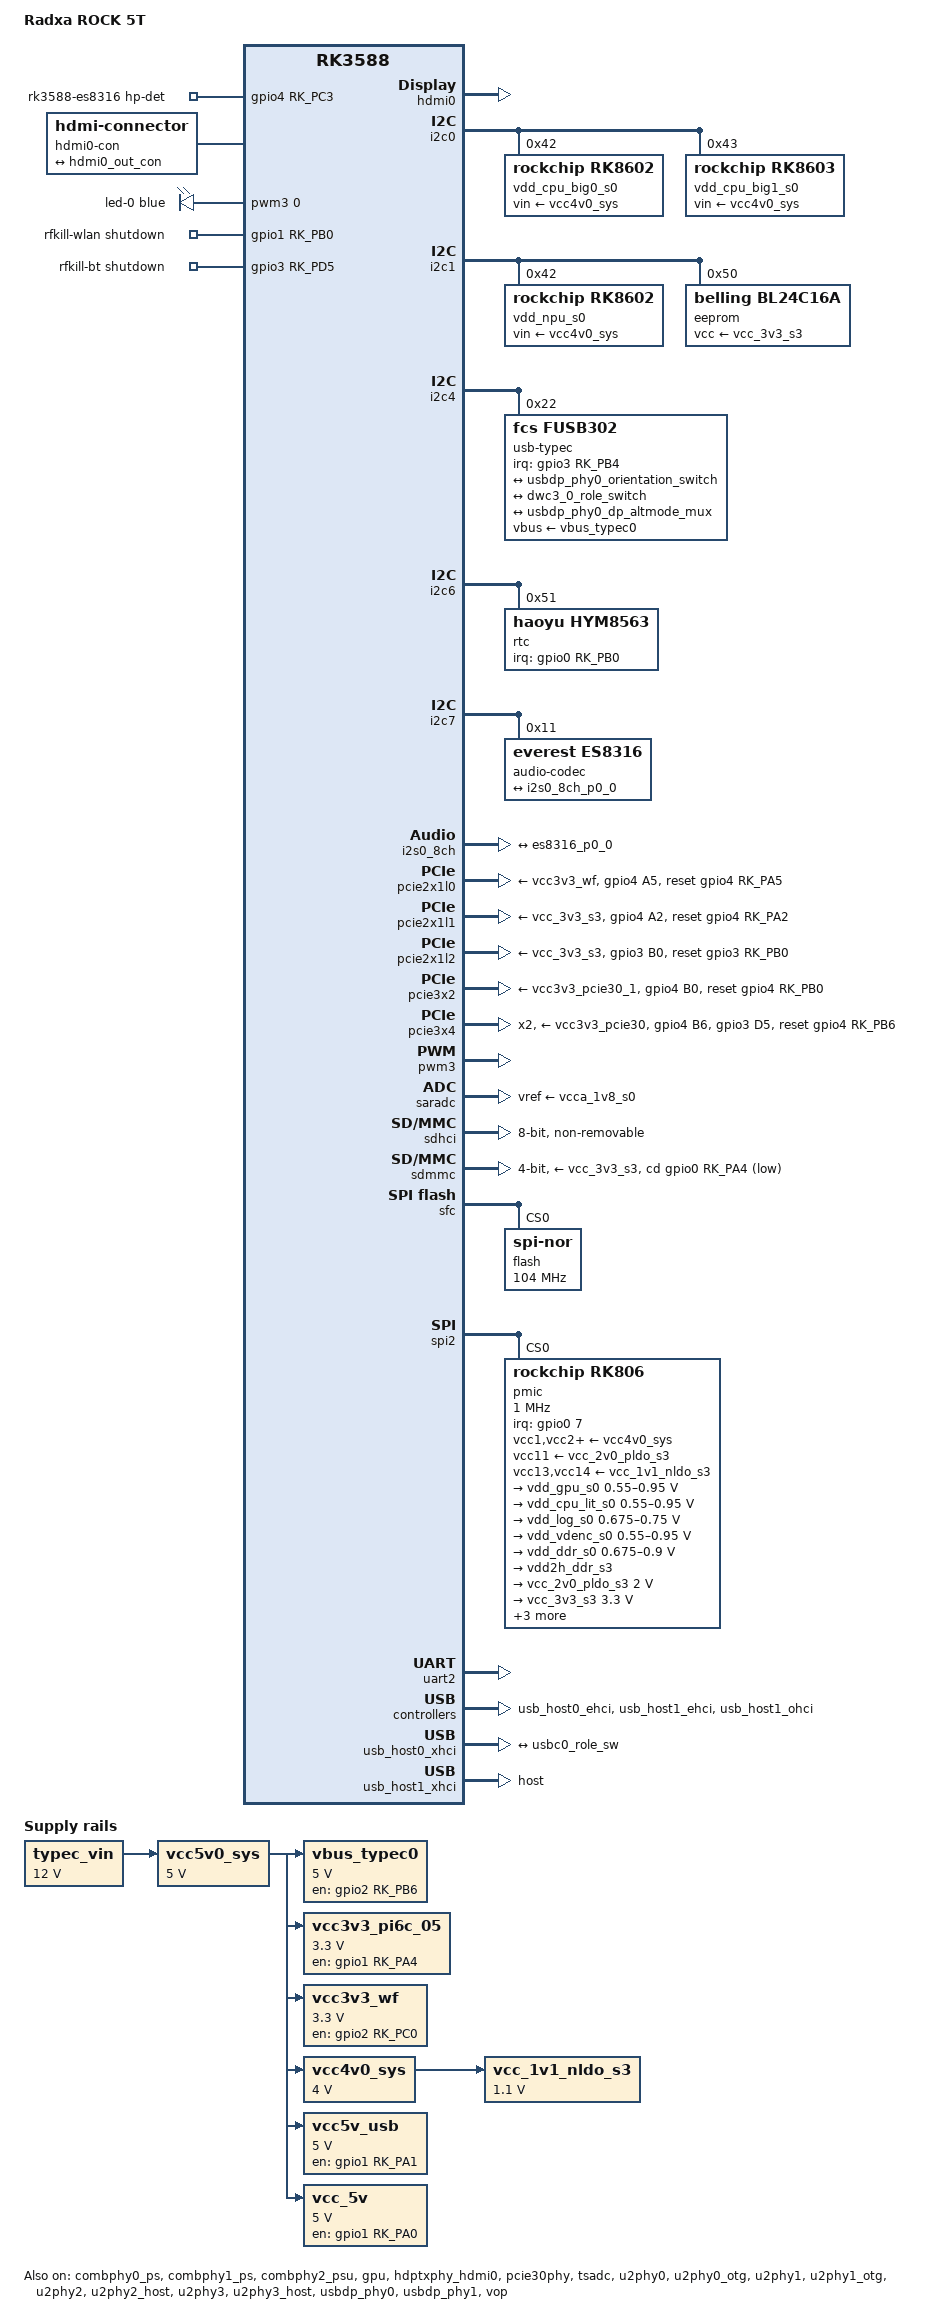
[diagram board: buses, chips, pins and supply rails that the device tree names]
// SPDX-License-Identifier: (GPL-2.0+ OR MIT)
/*
 * Copyright (c) 2024 Radxa Computer (Shenzhen) Co., Ltd.
 */

/dts-v1/;

#include <dt-bindings/gpio/gpio.h>
#include <dt-bindings/leds/common.h>
#include <dt-bindings/pinctrl/rockchip.h>
#include <dt-bindings/soc/rockchip,vop2.h>
#include <dt-bindings/usb/pd.h>
#include "rk3588.dtsi"

/ {
	model = "Radxa ROCK 5T";
	compatible = "radxa,rock-5t", "rockchip,rk3588";

	aliases {
		mmc0 = &sdhci;
		mmc1 = &sdmmc;
	};

	chosen {
		stdout-path = "serial2:1500000n8";
	};

	analog-sound {
		compatible = "audio-graph-card";
		label = "rk3588-es8316";
		dais = <&i2s0_8ch_p0>;
		hp-det-gpio = <&gpio4 RK_PC3 GPIO_ACTIVE_HIGH>;
		pinctrl-names = "default";
		pinctrl-0 = <&hp_detect>;
		routing = "MIC2", "Mic Jack",
			  "Headphones", "HPOL",
			  "Headphones", "HPOR";
		widgets = "Microphone", "Mic Jack",
			  "Headphone", "Headphones";
	};

	hdmi0-con {
		compatible = "hdmi-connector";
		type = "a";

		port {
			hdmi0_con_in: endpoint {
				remote-endpoint = <&hdmi0_out_con>;
			};
		};
	};

	leds {
		compatible = "pwm-leds";

		led-0 {
			color = <LED_COLOR_ID_BLUE>;
			default-state = "on";
			function = LED_FUNCTION_HEARTBEAT;
			linux,default-trigger = "heartbeat";
			pwms = <&pwm3 0 1000000 0>;
			max-brightness = <255>;
		};
	};

	rfkill {
		compatible = "rfkill-gpio";
		label = "rfkill-wlan";
		radio-type = "wlan";
		shutdown-gpios = <&gpio1 RK_PB0 GPIO_ACTIVE_HIGH>;
	};

	rfkill-bt {
		compatible = "rfkill-gpio";
		label = "rfkill-bt";
		radio-type = "bluetooth";
		shutdown-gpios = <&gpio3 RK_PD5 GPIO_ACTIVE_HIGH>;
	};

	typec_vin: regulator-typec-vin {
		compatible = "regulator-fixed";
		regulator-name = "typec_vin";
		regulator-always-on;
		regulator-boot-on;
		regulator-min-microvolt = <12000000>;
		regulator-max-microvolt = <12000000>;
	};

	vbus_typec0: regulator-vbus-typec0 {
		compatible = "regulator-fixed";
		enable-active-high;
		gpio = <&gpio2 RK_PB6 GPIO_ACTIVE_HIGH>;
		pinctrl-names = "default";
		pinctrl-0 = <&typec5v_pwren_h>;
		regulator-name = "vbus_typec0";
		regulator-min-microvolt = <5000000>;
		regulator-max-microvolt = <5000000>;
		vin-supply = <&vcc5v0_sys>;
	};

	/* pi6c pcie clock generator */
	vcc3v3_pi6c_05: vcc3v3_pcie30: vcc3v3_pcie30_1: regulator-vcc3v3-pi6c-05 {
		compatible = "regulator-fixed";
		enable-active-high;
		gpio = <&gpio1 RK_PA4 GPIO_ACTIVE_HIGH>;
		pinctrl-names = "default";
		pinctrl-0 = <&pcie30x4_pwren_h>;
		regulator-name = "vcc3v3_pi6c_05";
		regulator-min-microvolt = <3300000>;
		regulator-max-microvolt = <3300000>;
		vin-supply = <&vcc5v0_sys>;
	};

	vcc3v3_wf: regulator-vcc3v3-wf {
		compatible = "regulator-fixed";
		enable-active-high;
		gpio = <&gpio2 RK_PC0 GPIO_ACTIVE_HIGH>;
		pinctrl-names = "default";
		pinctrl-0 = <&ekey_en>;
		regulator-name = "vcc3v3_wf";
		regulator-min-microvolt = <3300000>;
		regulator-max-microvolt = <3300000>;
		vin-supply = <&vcc5v0_sys>;
	};

	vcc4v0_sys: regulator-vcc4v0-sys {
		compatible = "regulator-fixed";
		regulator-name = "vcc4v0_sys";
		regulator-always-on;
		regulator-boot-on;
		regulator-min-microvolt = <4000000>;
		regulator-max-microvolt = <4000000>;
		vin-supply = <&vcc5v0_sys>;
	};

	vcc5v0_sys: regulator-vcc5v0-sys {
		compatible = "regulator-fixed";
		regulator-name = "vcc5v0_sys";
		regulator-always-on;
		regulator-boot-on;
		regulator-min-microvolt = <5000000>;
		regulator-max-microvolt = <5000000>;
		vin-supply = <&typec_vin>;
	};

	vcc5v_usb: regulator-vcc5v-usb {
		compatible = "regulator-fixed";
		enable-active-high;
		gpio = <&gpio1 RK_PA1 GPIO_ACTIVE_HIGH>;
		pinctrl-names = "default";
		pinctrl-0 = <&usb_host_pwren_h>;
		regulator-name = "vcc5v_usb";
		regulator-min-microvolt = <5000000>;
		regulator-max-microvolt = <5000000>;
		vin-supply = <&vcc5v0_sys>;
	};

	vcc_1v1_nldo_s3: regulator-vcc-1v1-nldo-s3 {
		compatible = "regulator-fixed";
		regulator-name = "vcc_1v1_nldo_s3";
		regulator-always-on;
		regulator-boot-on;
		regulator-min-microvolt = <1100000>;
		regulator-max-microvolt = <1100000>;
		vin-supply = <&vcc4v0_sys>;
	};

	vcc_5v: regulator-vcc_5v {
		compatible = "regulator-fixed";
		enable-active-high;
		gpio = <&gpio1 RK_PA0 GPIO_ACTIVE_HIGH>;
		pinctrl-names = "default";
		pinctrl-0 = <&hub_rst_1v8>;
		regulator-name = "vcc_5v";
		regulator-min-microvolt = <5000000>;
		regulator-max-microvolt = <5000000>;
		vin-supply = <&vcc5v0_sys>;
	};
};

&combphy0_ps {
	status = "okay";
};

&combphy1_ps {
	status = "okay";
};

&combphy2_psu {
	status = "okay";
};

&cpu_b0 {
	cpu-supply = <&vdd_cpu_big0_s0>;
};

&cpu_b1 {
	cpu-supply = <&vdd_cpu_big0_s0>;
};

&cpu_b2 {
	cpu-supply = <&vdd_cpu_big1_s0>;
};

&cpu_b3 {
	cpu-supply = <&vdd_cpu_big1_s0>;
};

&cpu_l0 {
	cpu-supply = <&vdd_cpu_lit_s0>;
};

&cpu_l1 {
	cpu-supply = <&vdd_cpu_lit_s0>;
};

&cpu_l2 {
	cpu-supply = <&vdd_cpu_lit_s0>;
};

&cpu_l3 {
	cpu-supply = <&vdd_cpu_lit_s0>;
};

&gpu {
	mali-supply = <&vdd_gpu_s0>;
	status = "okay";
};

&hdmi0 {
	status = "okay";
};

&hdmi0_in {
	hdmi0_in_vp0: endpoint {
		remote-endpoint = <&vp0_out_hdmi0>;
	};
};

&hdmi0_out {
	hdmi0_out_con: endpoint {
		remote-endpoint = <&hdmi0_con_in>;
	};
};

&hdptxphy_hdmi0 {
	status = "okay";
};

&i2c0 {
	pinctrl-names = "default";
	pinctrl-0 = <&i2c0m2_xfer>;
	status = "okay";

	vdd_cpu_big0_s0: regulator@42 {
		compatible = "rockchip,rk8602";
		reg = <0x42>;
		fcs,suspend-voltage-selector = <1>;
		regulator-name = "vdd_cpu_big0_s0";
		regulator-always-on;
		regulator-boot-on;
		regulator-min-microvolt = <550000>;
		regulator-max-microvolt = <1050000>;
		regulator-ramp-delay = <2300>;
		vin-supply = <&vcc4v0_sys>;

		regulator-state-mem {
			regulator-off-in-suspend;
		};
	};

	vdd_cpu_big1_s0: regulator@43 {
		compatible = "rockchip,rk8603", "rockchip,rk8602";
		reg = <0x43>;
		fcs,suspend-voltage-selector = <1>;
		regulator-name = "vdd_cpu_big1_s0";
		regulator-always-on;
		regulator-boot-on;
		regulator-min-microvolt = <550000>;
		regulator-max-microvolt = <1050000>;
		regulator-ramp-delay = <2300>;
		vin-supply = <&vcc4v0_sys>;

		regulator-state-mem {
			regulator-off-in-suspend;
		};
	};
};

&i2c1 {
	pinctrl-names = "default";
	pinctrl-0 = <&i2c1m2_xfer>;
	status = "okay";

	vdd_npu_s0: regulator@42 {
		compatible = "rockchip,rk8602";
		reg = <0x42>;
		fcs,suspend-voltage-selector = <1>;
		regulator-name = "vdd_npu_s0";
		regulator-always-on;
		regulator-boot-on;
		regulator-min-microvolt = <550000>;
		regulator-max-microvolt = <950000>;
		regulator-ramp-delay = <2300>;
		vin-supply = <&vcc4v0_sys>;

		regulator-state-mem {
			regulator-off-in-suspend;
		};
	};

	eeprom@50 {
		compatible = "belling,bl24c16a", "atmel,24c16";
		reg = <0x50>;
		pagesize = <16>;
		vcc-supply = <&vcc_3v3_s3>;
	};
};

&i2c4 {
	pinctrl-names = "default";
	pinctrl-0 = <&i2c4m1_xfer>;
	status = "okay";

	usb-typec@22 {
		compatible = "fcs,fusb302";
		reg = <0x22>;
		interrupt-parent = <&gpio3>;
		interrupts = <RK_PB4 IRQ_TYPE_LEVEL_LOW>;
		pinctrl-names = "default";
		pinctrl-0 = <&cc_int_l>;
		vbus-supply = <&vbus_typec0>;

		connector {
			compatible = "usb-c-connector";
			data-role = "dual";
			label = "USB-C";
			power-role = "source";
			source-pdos =
				<PDO_FIXED(5000, 3000, PDO_FIXED_USB_COMM)>;

			ports {
				#address-cells = <1>;
				#size-cells = <0>;

				port@0 {
					reg = <0>;

					usbc0_orien_sw: endpoint {
						remote-endpoint = <&usbdp_phy0_orientation_switch>;
					};
				};

				port@1 {
					reg = <1>;

					usbc0_role_sw: endpoint {
						remote-endpoint = <&dwc3_0_role_switch>;
					};
				};

				port@2 {
					reg = <2>;

					dp_altmode_mux: endpoint {
						remote-endpoint = <&usbdp_phy0_dp_altmode_mux>;
					};
				};
			};
		};
	};
};

&i2c6 {
	status = "okay";

	rtc@51 {
		compatible = "haoyu,hym8563";
		reg = <0x51>;
		#clock-cells = <0>;
		clock-output-names = "32kout_wifi";
		interrupt-parent = <&gpio0>;
		interrupts = <RK_PB0 IRQ_TYPE_LEVEL_LOW>;
		pinctrl-names = "default";
		pinctrl-0 = <&rtc_int_l>;
	};
};

&i2c7 {
	status = "okay";

	audio-codec@11 {
		compatible = "everest,es8316";
		reg = <0x11>;
		assigned-clocks = <&cru I2S0_8CH_MCLKOUT>;
		assigned-clock-rates = <12288000>;
		clocks = <&cru I2S0_8CH_MCLKOUT>;
		clock-names = "mclk";
		#sound-dai-cells = <0>;

		port {
			es8316_p0_0: endpoint {
				remote-endpoint = <&i2s0_8ch_p0_0>;
			};
		};
	};
};

&i2s0_8ch {
	pinctrl-names = "default";
	pinctrl-0 = <&i2s0_lrck
		     &i2s0_mclk
		     &i2s0_sclk
		     &i2s0_sdi0
		     &i2s0_sdo0>;
	status = "okay";

	i2s0_8ch_p0: port {
		i2s0_8ch_p0_0: endpoint {
			dai-format = "i2s";
			mclk-fs = <256>;
			remote-endpoint = <&es8316_p0_0>;
		};
	};
};

&pcie2x1l0 {
	pinctrl-names = "default";
	pinctrl-0 = <&pcie30x1_0_perstn_m1_l>;
	reset-gpios = <&gpio4 RK_PA5 GPIO_ACTIVE_HIGH>;
	vpcie3v3-supply = <&vcc3v3_wf>;
	status = "okay";
};

&pcie2x1l1 {
	pinctrl-names = "default";
	pinctrl-0 = <&pcie30x1_1_perstn_m1>;
	reset-gpios = <&gpio4 RK_PA2 GPIO_ACTIVE_HIGH>;
	vpcie3v3-supply = <&vcc_3v3_s3>;
	status = "okay";
};

&pcie2x1l2 {
	pinctrl-names = "default";
	pinctrl-0 = <&pcie_perst_l>;
	reset-gpios = <&gpio3 RK_PB0 GPIO_ACTIVE_HIGH>;
	vpcie3v3-supply = <&vcc_3v3_s3>;
	status = "okay";
};

&pcie30phy {
	data-lanes = <1 1 2 2>;
	phy-supply = <&vcc3v3_pi6c_05>;
	status = "okay";
};

&pcie3x2 {
	pinctrl-names = "default";
	pinctrl-0 = <&pcie30x2_perstn_m1>;
	reset-gpios = <&gpio4 RK_PB0 GPIO_ACTIVE_HIGH>;
	vpcie3v3-supply = <&vcc3v3_pcie30_1>;
	status = "okay";
};

&pcie3x4 {
	num-lanes = <2>;
	pinctrl-names = "default";
	pinctrl-0 = <&pcie30x4_perstn_m1_l &bt_wake_l>;
	reset-gpios = <&gpio4 RK_PB6 GPIO_ACTIVE_HIGH>,
		      <&gpio3 RK_PD5 GPIO_ACTIVE_HIGH>;
	vpcie3v3-supply = <&vcc3v3_pcie30>;
	status = "okay";
};

&pinctrl {
	bluetooth {
		bt_wake_l: bt-wake-l {
			rockchip,pins = <3 RK_PD5 RK_FUNC_GPIO &pcfg_pull_none>;
		};
	};

	pcie {
		ekey_en: ekey-en {
			rockchip,pins = <2 RK_PC0 RK_FUNC_GPIO &pcfg_pull_none>;
		};

		pcie_perst_l: pcie-perst-l {
			rockchip,pins = <3 RK_PB0 RK_FUNC_GPIO &pcfg_pull_none>;
		};

		pcie30x1_0_perstn_m1_l: pcie30x1-0-perstn-m1-l {
			rockchip,pins = <4 RK_PA5 RK_FUNC_GPIO &pcfg_pull_none>;
		};

		pcie30x1_1_perstn_m1: pcie30x1-1-perstn-m1 {
			rockchip,pins = <4 RK_PA2 RK_FUNC_GPIO &pcfg_pull_none>;
		};

		pcie30x2_perstn_m1: pcie30x4-perstn-m1 {
			rockchip,pins = <4 RK_PB0 RK_FUNC_GPIO &pcfg_pull_none>;
		};

		pcie30x4_perstn_m1_l: pcie30x4-perstn-m1-l {
			rockchip,pins = <4 RK_PB6 RK_FUNC_GPIO &pcfg_pull_none>;
		};

		pcie30x4_pwren_h: pcie30x4-pwren-h {
			rockchip,pins = <1 RK_PA4 RK_FUNC_GPIO &pcfg_pull_none>;
		};
	};

	rtc {
		rtc_int_l: rtc-int-l {
			rockchip,pins = <0 RK_PB0 RK_FUNC_GPIO &pcfg_pull_none>;
		};
	};

	sound {
		hp_detect: hp-detect {
			rockchip,pins = <4 RK_PC3 RK_FUNC_GPIO &pcfg_pull_none>;
		};
	};

	usb {
		cc_int_l: cc-int-l {
			rockchip,pins = <3 RK_PB4 RK_FUNC_GPIO &pcfg_pull_none>;
		};

		hub_rst_1v8: hub-rst-1v8 {
			rockchip,pins = <1 RK_PA0 RK_FUNC_GPIO &pcfg_pull_none>;
		};

		typec5v_pwren_h: typec5v-pwren-h {
			rockchip,pins = <2 RK_PB6 RK_FUNC_GPIO &pcfg_pull_none>;
		};

		usb_host_pwren_h: usb-host-pwren-h {
			rockchip,pins = <1 RK_PA1 RK_FUNC_GPIO &pcfg_pull_none>;
		};
	};
};

&pwm3 {
	pinctrl-names = "default";
	pinctrl-0 = <&pwm3m3_pins>;
	status = "okay";
};

&saradc {
	vref-supply = <&vcca_1v8_s0>;
	status = "okay";
};

&sdhci {
	bus-width = <8>;
	mmc-hs400-1_8v;
	mmc-hs400-enhanced-strobe;
	no-sdio;
	no-sd;
	non-removable;
	status = "okay";
};

&sdmmc {
	bus-width = <4>;
	cap-mmc-highspeed;
	cap-sd-highspeed;
	cd-gpios = <&gpio0 RK_PA4 GPIO_ACTIVE_LOW>;
	disable-wp;
	no-sdio;
	no-mmc;
	sd-uhs-sdr104;
	vmmc-supply = <&vcc_3v3_s3>;
	vqmmc-supply = <&vccio_sd_s0>;
	status = "okay";
};

&sfc {
	pinctrl-names = "default";
	pinctrl-0 = <&fspim2_pins>;
	status = "okay";

	flash@0 {
		compatible = "jedec,spi-nor";
		reg = <0>;
		spi-max-frequency = <104000000>;
		spi-rx-bus-width = <4>;
		spi-tx-bus-width = <1>;
	};
};

&spi2 {
	status = "okay";
	assigned-clocks = <&cru CLK_SPI2>;
	assigned-clock-rates = <200000000>;
	num-cs = <1>;
	pinctrl-names = "default";
	pinctrl-0 = <&spi2m2_cs0 &spi2m2_pins>;

	pmic@0 {
		compatible = "rockchip,rk806";
		reg = <0>;
		gpio-controller;
		#gpio-cells = <2>;
		interrupt-parent = <&gpio0>;
		interrupts = <7 IRQ_TYPE_LEVEL_LOW>;
		pinctrl-names = "default";
		pinctrl-0 = <&pmic_pins>, <&rk806_dvs1_null>,
			    <&rk806_dvs2_null>, <&rk806_dvs3_null>;
		spi-max-frequency = <1000000>;
		system-power-controller;

		vcc1-supply = <&vcc4v0_sys>;
		vcc2-supply = <&vcc4v0_sys>;
		vcc3-supply = <&vcc4v0_sys>;
		vcc4-supply = <&vcc4v0_sys>;
		vcc5-supply = <&vcc4v0_sys>;
		vcc6-supply = <&vcc4v0_sys>;
		vcc7-supply = <&vcc4v0_sys>;
		vcc8-supply = <&vcc4v0_sys>;
		vcc9-supply = <&vcc4v0_sys>;
		vcc10-supply = <&vcc4v0_sys>;
		vcc11-supply = <&vcc_2v0_pldo_s3>;
		vcc12-supply = <&vcc4v0_sys>;
		vcc13-supply = <&vcc_1v1_nldo_s3>;
		vcc14-supply = <&vcc_1v1_nldo_s3>;
		vcca-supply = <&vcc4v0_sys>;

		rk806_dvs1_null: dvs1-null-pins {
			pins = "gpio_pwrctrl1";
			function = "pin_fun0";
		};

		rk806_dvs2_null: dvs2-null-pins {
			pins = "gpio_pwrctrl2";
			function = "pin_fun0";
		};

		rk806_dvs3_null: dvs3-null-pins {
			pins = "gpio_pwrctrl3";
			function = "pin_fun0";
		};

		regulators {
			vdd_gpu_s0: dcdc-reg1 {
				regulator-name = "vdd_gpu_s0";
				regulator-boot-on;
				regulator-min-microvolt = <550000>;
				regulator-max-microvolt = <950000>;
				regulator-ramp-delay = <12500>;
				regulator-enable-ramp-delay = <400>;

				regulator-state-mem {
					regulator-off-in-suspend;
				};
			};

			vdd_cpu_lit_s0: dcdc-reg2 {
				regulator-name = "vdd_cpu_lit_s0";
				regulator-always-on;
				regulator-boot-on;
				regulator-min-microvolt = <550000>;
				regulator-max-microvolt = <950000>;
				regulator-ramp-delay = <12500>;

				regulator-state-mem {
					regulator-off-in-suspend;
				};
			};

			vdd_log_s0: dcdc-reg3 {
				regulator-name = "vdd_log_s0";
				regulator-always-on;
				regulator-boot-on;
				regulator-min-microvolt = <675000>;
				regulator-max-microvolt = <750000>;
				regulator-ramp-delay = <12500>;

				regulator-state-mem {
					regulator-on-in-suspend;
					regulator-suspend-microvolt = <750000>;
				};
			};

			vdd_vdenc_s0: dcdc-reg4 {
				regulator-name = "vdd_vdenc_s0";
				regulator-always-on;
				regulator-boot-on;
				regulator-min-microvolt = <550000>;
				regulator-max-microvolt = <950000>;
				regulator-ramp-delay = <12500>;

				regulator-state-mem {
					regulator-off-in-suspend;
				};
			};

			vdd_ddr_s0: dcdc-reg5 {
				regulator-name = "vdd_ddr_s0";
				regulator-always-on;
				regulator-boot-on;
				regulator-min-microvolt = <675000>;
				regulator-max-microvolt = <900000>;
				regulator-ramp-delay = <12500>;

				regulator-state-mem {
					regulator-off-in-suspend;
					regulator-suspend-microvolt = <850000>;
				};
			};

			vdd2h_ddr_s3: dcdc-reg6 {
				regulator-name = "vdd2h_ddr_s3";
				regulator-always-on;
				regulator-boot-on;

				regulator-state-mem {
					regulator-on-in-suspend;
				};
			};

			vcc_2v0_pldo_s3: dcdc-reg7 {
				regulator-name = "vcc_2v0_pldo_s3";
				regulator-always-on;
				regulator-boot-on;
				regulator-min-microvolt = <2000000>;
				regulator-max-microvolt = <2000000>;

				regulator-state-mem {
					regulator-on-in-suspend;
					regulator-suspend-microvolt = <2000000>;
				};
			};

			vcc_3v3_s3: dcdc-reg8 {
				regulator-name = "vcc_3v3_s3";
				regulator-always-on;
				regulator-boot-on;
				regulator-min-microvolt = <3300000>;
				regulator-max-microvolt = <3300000>;

				regulator-state-mem {
					regulator-on-in-suspend;
					regulator-suspend-microvolt = <3300000>;
				};
			};

			vddq_ddr_s0: dcdc-reg9 {
				regulator-name = "vddq_ddr_s0";
				regulator-always-on;
				regulator-boot-on;

				regulator-state-mem {
					regulator-off-in-suspend;
				};
			};

			vcc_1v8_s3: dcdc-reg10 {
				regulator-name = "vcc_1v8_s3";
				regulator-always-on;
				regulator-boot-on;
				regulator-min-microvolt = <1800000>;
				regulator-max-microvolt = <1800000>;

				regulator-state-mem {
					regulator-on-in-suspend;
					regulator-suspend-microvolt = <1800000>;
				};
			};

			vcca_1v8_s0: pldo-reg1 {
				regulator-name = "vcca_1v8_s0";
				regulator-always-on;
				regulator-boot-on;
				regulator-min-microvolt = <1800000>;
				regulator-max-microvolt = <1800000>;

				regulator-state-mem {
					regulator-on-in-suspend;
					regulator-suspend-microvolt = <1800000>;
				};
			};

			vcc_1v8_s0: pldo-reg2 {
				regulator-name = "vcc_1v8_s0";
				regulator-always-on;
				regulator-boot-on;
				regulator-min-microvolt = <1800000>;
				regulator-max-microvolt = <1800000>;

				regulator-state-mem {
					regulator-on-in-suspend;
					regulator-suspend-microvolt = <1800000>;
				};
			};

			vdda_1v2_s0: pldo-reg3 {
				regulator-name = "vdda_1v2_s0";
				regulator-always-on;
				regulator-boot-on;
				regulator-min-microvolt = <1200000>;
				regulator-max-microvolt = <1200000>;

				regulator-state-mem {
					regulator-off-in-suspend;
				};
			};

			vcca_3v3_s0: pldo-reg4 {
				regulator-name = "vcca_3v3_s0";
				regulator-always-on;
				regulator-boot-on;
				regulator-min-microvolt = <3300000>;
				regulator-max-microvolt = <3300000>;

				regulator-state-mem {
					regulator-on-in-suspend;
					regulator-suspend-microvolt = <3300000>;
				};
			};

			vccio_sd_s0: pldo-reg5 {
				regulator-name = "vccio_sd_s0";
				regulator-always-on;
				regulator-boot-on;
				regulator-min-microvolt = <1800000>;
				regulator-max-microvolt = <3300000>;

				regulator-state-mem {
					regulator-off-in-suspend;
				};
			};

			pldo6_s3: pldo-reg6 {
				regulator-name = "pldo6_s3";
				regulator-always-on;
				regulator-boot-on;
				regulator-min-microvolt = <1800000>;
				regulator-max-microvolt = <1800000>;

				regulator-state-mem {
					regulator-on-in-suspend;
					regulator-suspend-microvolt = <1800000>;
				};
			};

			vdd_0v75_s3: nldo-reg1 {
				regulator-name = "vdd_0v75_s3";
				regulator-always-on;
				regulator-boot-on;
				regulator-min-microvolt = <750000>;
				regulator-max-microvolt = <750000>;

				regulator-state-mem {
					regulator-on-in-suspend;
					regulator-suspend-microvolt = <750000>;
				};
			};

			vdda_ddr_pll_s0: nldo-reg2 {
				regulator-name = "vdda_ddr_pll_s0";
				regulator-always-on;
				regulator-boot-on;
				regulator-min-microvolt = <850000>;
				regulator-max-microvolt = <850000>;

				regulator-state-mem {
					regulator-on-in-suspend;
					regulator-suspend-microvolt = <850000>;
				};
			};

			vdda_0v75_s0: nldo-reg3 {
				regulator-name = "vdda_0v75_s0";
				regulator-always-on;
				regulator-boot-on;
				regulator-min-microvolt = <750000>;
				regulator-max-microvolt = <750000>;

				regulator-state-mem {
					regulator-on-in-suspend;
					regulator-suspend-microvolt = <750000>;
				};
			};

			vdda_0v85_s0: nldo-reg4 {
				regulator-name = "vdda_0v85_s0";
				regulator-always-on;
				regulator-boot-on;
				regulator-min-microvolt = <850000>;
				regulator-max-microvolt = <850000>;

				regulator-state-mem {
					regulator-off-in-suspend;
				};
			};

			vdd_0v75_s0: nldo-reg5 {
				regulator-name = "vdd_0v75_s0";
				regulator-always-on;
				regulator-boot-on;
				regulator-min-microvolt = <750000>;
				regulator-max-microvolt = <750000>;

				regulator-state-mem {
					regulator-off-in-suspend;
				};
			};
		};
	};
};

&tsadc {
	status = "okay";
};

&u2phy0 {
	status = "okay";
};

&u2phy0_otg {
	phy-supply = <&vbus_typec0>;
	status = "okay";
};

&u2phy1 {
	status = "okay";
};

&u2phy1_otg {
	phy-supply = <&vcc_5v>;
	status = "okay";
};

&u2phy2 {
	status = "okay";
};

&u2phy2_host {
	phy-supply = <&vcc5v_usb>;
	status = "okay";
};

&u2phy3 {
	status = "okay";
};

&u2phy3_host {
	phy-supply = <&vcc5v_usb>;
	status = "okay";
};

&uart2 {
	pinctrl-0 = <&uart2m0_xfer>;
	status = "okay";
};

&usb_host0_ehci {
	status = "okay";
};

&usb_host0_xhci {
	status = "okay";

	port {
		#address-cells = <1>;
		#size-cells = <0>;

		dwc3_0_role_switch: endpoint@0 {
			reg = <0>;
			remote-endpoint = <&usbc0_role_sw>;
		};
	};
};

&usb_host1_ehci {
	status = "okay";
};

&usb_host1_ohci {
	status = "okay";
};

&usb_host1_xhci {
	dr_mode = "host";
	status = "okay";
};

&usbdp_phy0 {
	mode-switch;
	orientation-switch;
	sbu1-dc-gpios = <&gpio0 RK_PC4 GPIO_ACTIVE_HIGH>;
	sbu2-dc-gpios = <&gpio0 RK_PC5 GPIO_ACTIVE_HIGH>;
	status = "okay";

	port {
		#address-cells = <1>;
		#size-cells = <0>;

		usbdp_phy0_orientation_switch: endpoint@0 {
			reg = <0>;
			remote-endpoint = <&usbc0_orien_sw>;
		};

		usbdp_phy0_dp_altmode_mux: endpoint@1 {
			reg = <1>;
			remote-endpoint = <&dp_altmode_mux>;
		};
	};
};

&usbdp_phy1 {
	status = "okay";
};

&vop {
	status = "okay";
};

&vop_mmu {
	status = "okay";
};

&vp0 {
	vp0_out_hdmi0: endpoint@ROCKCHIP_VOP2_EP_HDMI0 {
		reg = <ROCKCHIP_VOP2_EP_HDMI0>;
		remote-endpoint = <&hdmi0_in_vp0>;
	};
};
